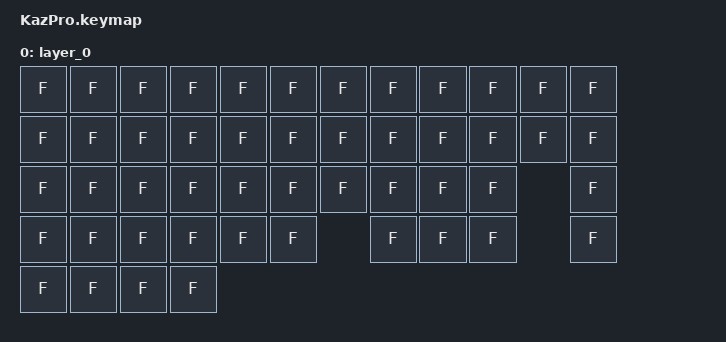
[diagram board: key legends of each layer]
#include <behaviors.dtsi>
#include <dt-bindings/zmk/keys.h>
#include <dt-bindings/zmk/bt.h>

#define layer_0 0

/ {
    behaviors {
         rot_kp: behavior_sensor_rotate_kp {
            compatible = "zmk,behavior-sensor-rotate-var";
            label = "ENC_KP";
            #sensor-binding-cells = <2>;
            bindings = <&kp>, <&kp>;
        };
        hm: homerow_mods {
            compatible = "zmk,behavior-hold-tap";
            label = "homerow mods";
            #binding-cells = <2>;
            tapping-term-ms = <500>;
            flavor = "tap-preferred";
            bindings = <&kp>, <&kp>;
        };
        td0: tap_dance_0 {
            compatible = "zmk,behavior-tap-dance";
            label = "TAP_DANCE_0";
            #binding-cells = <0>;
            tapping-term-ms = <500>;
            bindings = <&kp C_PP>, <&tog layer_1>;
        };
     combos {
        compatible = "zmk,combos";
        combo_esc {
            timeout-ms = <200>;
            key-positions = <0 5>;
            bindings = <&tog layer_2>;
           };
        };
    };
};

/ {
    keymap {
        compatible = "zmk,keymap";

        layer_0 {
            bindings = <
                    &kp F     &kp F     &kp F    &kp F    &kp F    &kp F    &kp F     &kp F     &kp F    &kp F    &kp F    &kp F
                    &kp F     &kp F     &kp F    &kp F    &kp F    &kp F    &kp F     &kp F     &kp F    &kp F    &kp F    &kp F
                    &kp F     &kp F     &kp F    &kp F    &kp F    &kp F    &kp F     &kp F     &kp F    &kp F             &kp F
                    &kp F     &kp F     &kp F    &kp F    &kp F    &kp F              &kp F     &kp F    &kp F             &kp F
                    &kp F     &kp F     &kp F    &kp F    

            >;
        };
    };
};
